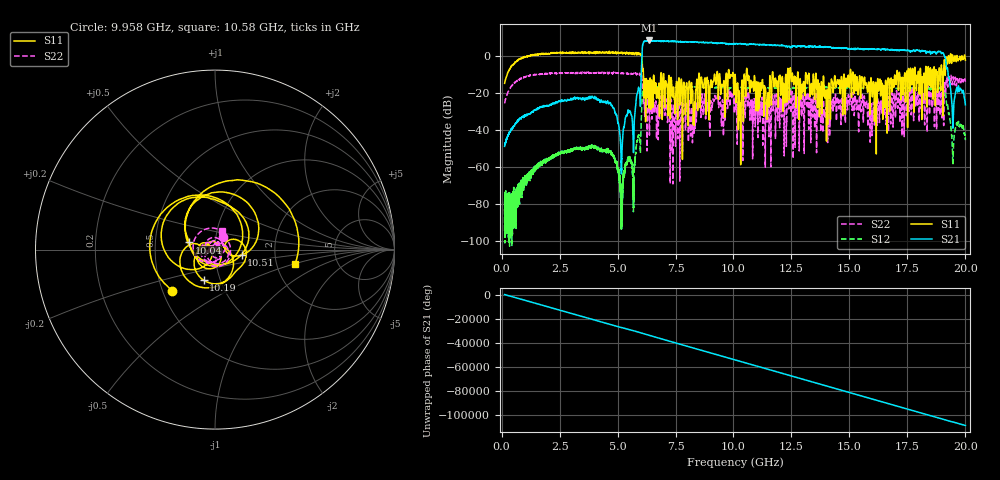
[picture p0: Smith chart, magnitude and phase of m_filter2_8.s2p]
!Created with skrf (http://scikit-rf.org).
# GHz S RI R 50.0
!freq ReS11 ImS11 ReS21 ImS21 ReS12 ImS12 ReS22 ImS22
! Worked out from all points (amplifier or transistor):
!   20013 points, 130 MHz to 20 GHz, reference 50 ohm
!   highest |S21| = 8.6 dB at 6.357 GHz (marker M1)
!   |S21| within 3 dB of that: 6.077 GHz to 12.23 GHz (6.149 GHz wide, 67.2 % of centre)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
!   unconditionally stable (mu >= 1): start of sweep to 1.071 GHz; 6.053 GHz to 19.26 GHz; 19.65 GHz to 19.76 GHz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
!   at 3.465 GHz: K = -1237.16, MSG = 13.3 dB, |S12| = -50.1 dB
!   at 10.14 GHz: K = 1.71, MAG = 7.0 dB, |S12| = -16.9 dB
!   at 20 GHz: K = 720.78, MAG = -22.0 dB, |S12| = -45.4 dB
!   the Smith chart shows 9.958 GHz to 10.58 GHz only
!   S11 on the Smith chart (normalised r, x): 9.958 GHz: 0.56, -0.29; 10.04 GHz: 0.75, +0.06; 10.19 GHz: 0.83, -0.30; 10.51 GHz: 1.34, -0.08; 10.58 GHz: 2.55, -0.50
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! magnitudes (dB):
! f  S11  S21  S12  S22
! 130 MHz  -14.7  -48.8  -82.6  -25.5
! 3.442 GHz  2.3  -23.2  -50.5  -9.3
! 4.728 GHz  2.2  -26.5  -53.1  -9.1
! 5.185 GHz  2.3  -54.2  -76.6  -8.9
! 5.427 GHz  1.4  -31.3  -56.2  -9.5
! 5.707 GHz  1.7  -40.8  -65.2  -9.3
! 6.134 GHz  -21.8  7.9  -17.4  -25.5
! 6.357 GHz  -24.3  8.6  -16.7  -28.7
! 6.754 GHz  -22.0  8.3  -16.7  -44.6
! 8.3 GHz  -35.1  7.7  -16.7  -39.1
! 9.958 GHz  -9.6  6.7  -17.1  -21.5
! 10.04 GHz  -16.6  6.9  -16.9  -30.1
! 10.06 GHz  -9.8  6.7  -17.2  -22.9
! 10.19 GHz  -14.8  6.7  -17.0  -25.1
! 10.51 GHz  -16.4  6.5  -17.0  -28.6
! 10.58 GHz  -6.9  6.2  -17.4  -19.2
! 11.45 GHz  -25.1  6.2  -17.0  -35.3
! 13.38 GHz  -18.3  5.3  -16.6  -27.9
! 16.69 GHz  -12.0  3.5  -17.1  -31.7
! 18.98 GHz  -6.1  1.6  -18.0  -19.4
! 19.45 GHz  0.3  -37.0  -56.2  -11.9
! 20 GHz  -2.2  -26.3  -45.4  -13.8
